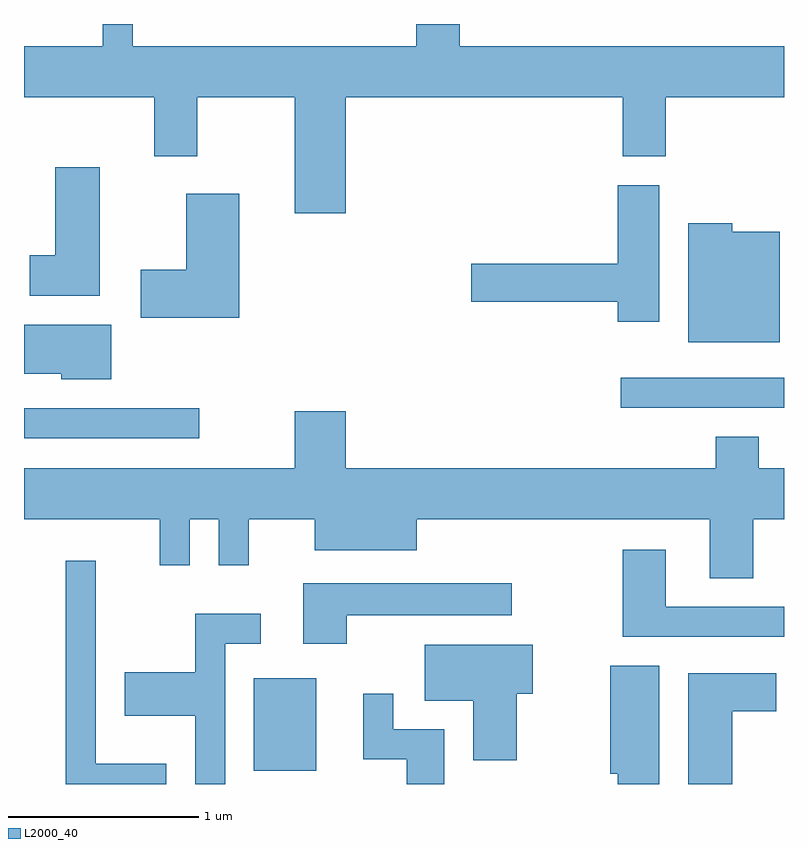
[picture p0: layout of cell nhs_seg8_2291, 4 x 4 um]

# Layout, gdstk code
import gdstk
lib = gdstk.Library(unit=1e-6, precision=1e-09)
def R(c, l, rs):  # rectangles x0, y0, x1, y1
    for r in rs: c.add(gdstk.rectangle(r[:2], r[2:], *l))
def P(c, l, *ps):  # polygons
    for p in ps: c.add(gdstk.Polygon(p, *l))
L2000_40 = (2000, 40)

nhs_seg8_2291 = lib.new_cell('nhs_seg8_2291')
R(nhs_seg8_2291, L2000_40, [(254.821,1848.411,255.149,1848.899), (253.611,1850.161,254.533,1850.319), (256.753,1850.321,257.611,1850.479)])
P(nhs_seg8_2291, L2000_40, [(255.304,1851.956),(256.761,1851.956),(256.761,1851.646),(256.989,1851.646),(256.989,1851.956),(257.611,1851.956),(257.611,1852.224),(255.904,1852.224),(255.904,1852.342),(255.676,1852.342),(255.676,1852.224),(254.184,1852.224),(254.184,1852.342),(254.026,1852.342),(254.026,1852.224),(253.611,1852.224),(253.611,1851.956),(254.296,1851.956),(254.296,1851.646),(254.524,1851.646),(254.524,1851.956),(255.036,1851.956),(255.036,1851.346),(255.304,1851.346)],
  [(254.009,1851.589),(253.776,1851.589),(253.776,1851.124),(253.641,1851.124),(253.641,1850.911),(254.009,1850.911)],
  [(256.954,1851.494),(256.736,1851.494),(256.736,1851.079),(255.966,1851.079),(255.966,1850.881),(256.736,1850.881),(256.736,1850.776),(256.954,1850.776)],
  [(254.744,1851.449),(254.466,1851.449),(254.466,1851.049),(254.226,1851.049),(254.226,1850.796),(254.744,1850.796)],
  [(257.589,1851.249),(257.339,1851.249),(257.339,1851.294),(257.106,1851.294),(257.106,1850.666),(257.589,1850.666)],
  [(254.069,1850.759),(253.611,1850.759),(253.611,1850.501),(253.806,1850.501),(253.806,1850.471),(254.069,1850.471)],
  [(257.449,1849.736),(257.611,1849.736),(257.611,1850.004),(257.479,1850.004),(257.479,1850.169),(257.251,1850.169),(257.251,1850.004),(255.304,1850.004),(255.304,1850.304),(255.036,1850.304),(255.036,1850.004),(253.611,1850.004),(253.611,1849.736),(254.326,1849.736),(254.326,1849.493),(254.484,1849.493),(254.484,1849.736),(254.636,1849.736),(254.636,1849.493),(254.794,1849.493),(254.794,1849.736),(255.141,1849.736),(255.141,1849.571),(255.679,1849.571),(255.679,1849.736),(257.221,1849.736),(257.221,1849.426),(257.449,1849.426)],
  [(257.611,1849.274),(256.989,1849.274),(256.989,1849.574),(256.761,1849.574),(256.761,1849.116),(257.611,1849.116)],
  [(254.359,1848.449),(253.989,1848.449),(253.989,1849.518),(253.831,1849.518),(253.831,1848.342),(254.359,1848.342)],
  [(255.309,1849.231),(256.178,1849.231),(256.178,1849.399),(255.081,1849.399),(255.081,1849.081),(255.309,1849.081)],
  [(254.669,1849.081),(254.858,1849.081),(254.858,1849.239),(254.511,1849.239),(254.511,1848.929),(254.141,1848.929),(254.141,1848.701),(254.511,1848.701),(254.511,1848.342),(254.669,1848.342)],
  [(256.204,1848.816),(256.289,1848.816),(256.289,1849.074),(255.721,1849.074),(255.721,1848.781),(255.976,1848.781),(255.976,1848.466),(256.204,1848.466)],
  [(256.954,1848.964),(256.696,1848.964),(256.696,1848.396),(256.736,1848.396),(256.736,1848.342),(256.954,1848.342)],
  [(257.339,1848.726),(257.569,1848.726),(257.569,1848.924),(257.106,1848.924),(257.106,1848.342),(257.339,1848.342)],
  [(255.824,1848.629),(255.554,1848.629),(255.554,1848.818),(255.396,1848.818),(255.396,1848.471),(255.626,1848.471),(255.626,1848.342),(255.824,1848.342)])

lib.write_gds('nhs_seg8_2291.gds')
